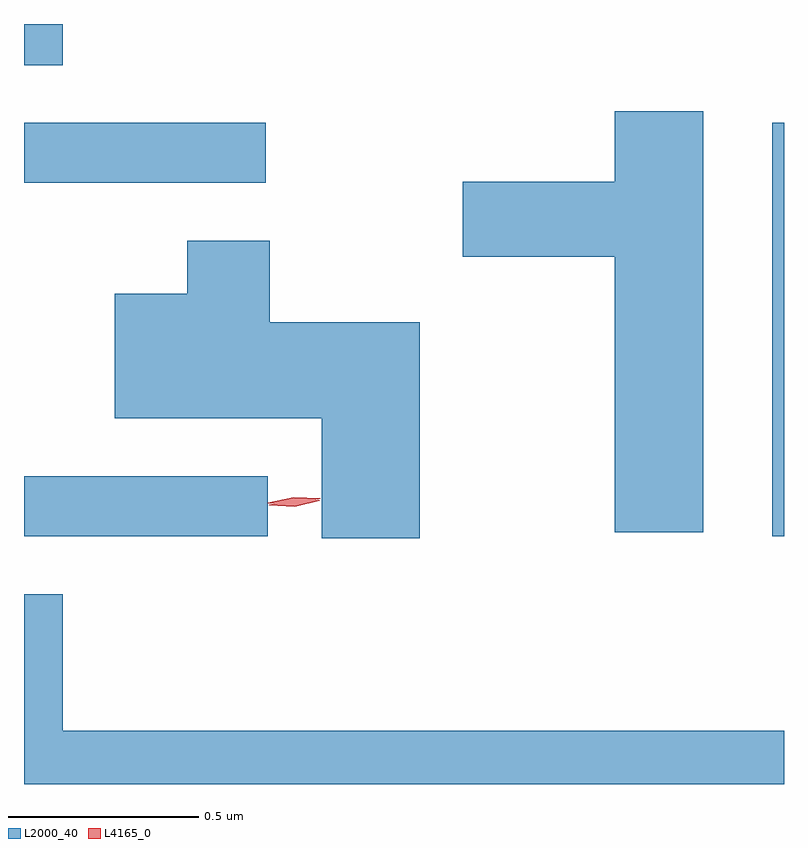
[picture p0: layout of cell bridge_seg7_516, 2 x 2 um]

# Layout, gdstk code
import gdstk
lib = gdstk.Library(unit=1e-6, precision=1e-09)
def R(c, l, rs):  # rectangles x0, y0, x1, y1
    for r in rs: c.add(gdstk.rectangle(r[:2], r[2:], *l))
def P(c, l, *ps):  # polygons
    for p in ps: c.add(gdstk.Polygon(p, *l))
L2000_40 = (2000, 40)
L4165_0 = (4165, 0)

bridge_seg7_516 = lib.new_cell('bridge_seg7_516')
R(bridge_seg7_516, L2000_40, [(1323.372,1723.976,1324.013,1724.134), (1325.341,1723.976,1325.372,1725.064), (1323.372,1724.906,1324.008,1725.064), (1323.372,1725.216,1323.474,1725.324)])
P(bridge_seg7_516, L2000_40, [(1325.159,1725.094),(1324.926,1725.094),(1324.926,1724.909),(1324.526,1724.909),(1324.526,1724.711),(1324.926,1724.711),(1324.926,1723.986),(1325.159,1723.986)],
  [(1324.414,1724.539),(1324.019,1724.539),(1324.019,1724.754),(1323.801,1724.754),(1323.801,1724.614),(1323.611,1724.614),(1323.611,1724.286),(1324.156,1724.286),(1324.156,1723.971),(1324.414,1723.971)],
  [(1325.372,1723.464),(1323.474,1723.464),(1323.474,1723.824),(1323.372,1723.824),(1323.372,1723.324),(1325.372,1723.324)])
P(bridge_seg7_516, L4165_0, [(1324.083,1724.059),(1324.014,1724.063),(1324.014,1724.063),(1324.014,1724.064),(1324.082,1724.079),(1324.151,1724.076),(1324.152,1724.075),(1324.151,1724.075)],
  [(1324.084,1724.054),(1324.018,1724.058),(1324.017,1724.058),(1324.018,1724.059),(1324.083,1724.074),(1324.149,1724.071),(1324.15,1724.07),(1324.149,1724.07)])

lib.write_gds('bridge_seg7_516.gds')
